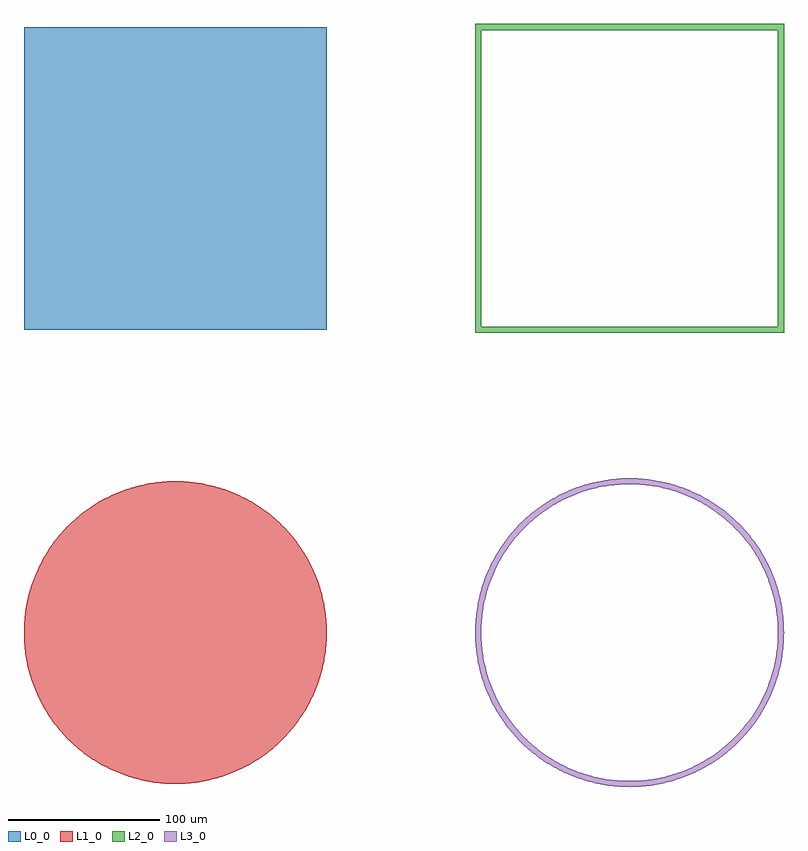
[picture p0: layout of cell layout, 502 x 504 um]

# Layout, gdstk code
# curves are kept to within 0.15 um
import gdstk
lib = gdstk.Library(unit=1e-6, precision=5e-09)
def R(c, l, rs):  # rectangles x0, y0, x1, y1
    for r in rs: c.add(gdstk.rectangle(r[:2], r[2:], *l))
def P(c, l, *ps):  # polygons
    for p in ps: c.add(gdstk.Polygon(p, *l))
L0_0 = (0, 0)
L1_0 = (1, 0)
L2_0 = (2, 0)
L3_0 = (3, 0)

boundaries = lib.new_cell('boundaries')
R(boundaries, L0_0, [(-100,50,100,250)])
P(boundaries, L1_0, [(100,-150),(99.62,-141.285),(98.165,-130.92),(96.125,-122.435),(92.72,-112.54),(88.295,-103.055),(82.905,-94.08),(76.605,-85.72),(70.71,-79.29),(64.28,-73.395),(55.92,-67.095),(46.945,-61.705),(37.46,-57.28),(27.565,-53.875),(19.08,-51.835),(8.715,-50.38),(0,-50),(-8.715,-50.38),(-19.08,-51.835),(-27.565,-53.875),(-37.46,-57.28),(-46.945,-61.705),(-55.92,-67.095),(-64.28,-73.395),(-70.71,-79.29),(-76.605,-85.72),(-82.905,-94.08),(-88.295,-103.055),(-92.72,-112.54),(-96.125,-122.435),(-98.165,-130.92),(-99.62,-141.285),(-100,-150),(-99.62,-158.715),(-98.165,-169.08),(-96.125,-177.565),(-92.72,-187.46),(-88.295,-196.945),(-82.905,-205.92),(-76.605,-214.28),(-70.71,-220.71),(-64.28,-226.605),(-55.92,-232.905),(-46.945,-238.295),(-37.46,-242.72),(-27.565,-246.125),(-19.08,-248.165),(-8.715,-249.62),(0,-250),(8.715,-249.62),(19.08,-248.165),(27.565,-246.125),(37.46,-242.72),(46.945,-238.295),(55.92,-232.905),(64.28,-226.605),(70.71,-220.71),(76.605,-214.28),(82.905,-205.92),(88.295,-196.945),(92.72,-187.46),(96.125,-177.565),(98.165,-169.08),(99.62,-158.715)])

paths = lib.new_cell('paths')
P(paths, L2_0, [(98,248),(-98,248),(-98,52),(98,52),(102,48),(-102,48),(-102,252),(102,252)],
  [(-98,52),(98,52),(98,248),(-98,248),(-102,252),(102,252),(102,48),(-102,48)])
P(paths, L3_0, [(98,-150),(97.465,-139.755),(96.2,-131.3),(93.72,-121.35),(90.865,-113.29),(86.53,-103.99),(82.19,-96.625),(76.16,-88.325),(69.295,-80.705),(61.675,-73.84),(53.375,-67.81),(46.01,-63.47),(36.71,-59.135),(28.65,-56.28),(18.7,-53.8),(10.245,-52.535),(0,-52),(-10.245,-52.535),(-18.7,-53.8),(-28.65,-56.28),(-36.71,-59.135),(-46.01,-63.47),(-53.375,-67.81),(-61.675,-73.84),(-68.075,-79.505),(-73.96,-85.705),(-79.285,-92.395),(-84,-99.525),(-88.08,-107.04),(-92.09,-116.48),(-93.72,-121.35),(-95.49,-127.955),(-96.795,-134.67),(-97.465,-139.755),(-97.94,-146.58),(-97.985,-151.71),(-101.985,-151.78),(-102,-150),(-101.44,-139.34),(-100.125,-130.535),(-98.05,-121.885),(-94.575,-111.79),(-90.885,-103.695),(-85.545,-94.445),(-79.27,-85.81),(-72.125,-77.875),(-64.19,-70.73),(-55.555,-64.455),(-46.305,-59.115),(-38.21,-55.425),(-28.115,-51.95),(-19.465,-49.875),(-10.66,-48.56),(0,-48),(10.66,-48.56),(19.465,-49.875),(29.82,-52.455),(39.855,-56.11),(49.45,-60.79),(58.505,-66.445),(66.92,-73.02),(73.375,-79.145),(80.375,-87.2),(83.555,-91.495),(87.43,-97.465),(92.445,-106.895),(96.445,-116.79),(98.525,-123.6),(100.125,-130.535),(101.24,-137.57),(101.86,-144.66),(102,-150)],
  [(-98,-150),(-97.465,-160.245),(-96.2,-168.7),(-93.72,-178.65),(-90.865,-186.71),(-86.53,-196.01),(-82.19,-203.375),(-76.16,-211.675),(-69.295,-219.295),(-61.675,-226.16),(-53.375,-232.19),(-46.01,-236.53),(-36.71,-240.865),(-28.65,-243.72),(-18.7,-246.2),(-10.245,-247.465),(0,-248),(10.245,-247.465),(18.7,-246.2),(28.65,-243.72),(36.71,-240.865),(46.01,-236.53),(53.375,-232.19),(61.675,-226.16),(68.075,-220.495),(73.96,-214.295),(79.285,-207.605),(84,-200.475),(88.08,-192.96),(92.09,-183.52),(93.72,-178.65),(95.49,-172.045),(96.795,-165.33),(97.465,-160.245),(97.94,-153.42),(97.985,-148.29),(101.985,-148.22),(102,-150),(101.44,-160.66),(100.125,-169.465),(98.05,-178.115),(94.575,-188.21),(90.885,-196.305),(85.545,-205.555),(79.27,-214.19),(72.125,-222.125),(64.19,-229.27),(55.555,-235.545),(46.305,-240.885),(38.21,-244.575),(28.115,-248.05),(19.465,-250.125),(10.66,-251.44),(0,-252),(-10.66,-251.44),(-19.465,-250.125),(-29.82,-247.545),(-39.855,-243.89),(-49.45,-239.21),(-58.505,-233.555),(-66.92,-226.98),(-73.375,-220.855),(-80.375,-212.8),(-83.555,-208.505),(-87.43,-202.535),(-92.445,-193.105),(-96.445,-183.21),(-98.525,-176.4),(-100.125,-169.465),(-101.24,-162.43),(-101.86,-155.34),(-102,-150)])

layout = lib.new_cell('layout')
layout.add(gdstk.Reference(boundaries, (0,0)))
layout.add(gdstk.Reference(paths, (300,0)))

lib.write_gds('layout.gds')
